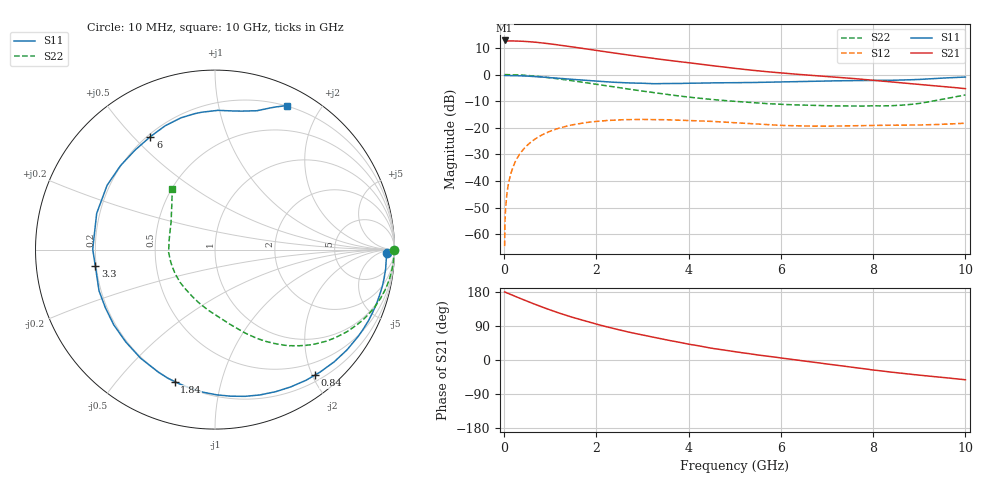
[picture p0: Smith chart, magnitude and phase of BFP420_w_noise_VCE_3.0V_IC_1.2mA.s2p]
! Infineon Technologies  Discrete & RF Semiconductors
! BFP420
! VCE =  3.0 V,  IC =  1.2 mA
! Common Emitter S-Parameters:  Jan 2016
# GHz  S  MA  R  50
!  f  S11  S21  S12  S22
! GHz  MAG  ANG  MAG  ANG  MAG  ANG  MAG  ANG
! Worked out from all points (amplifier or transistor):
!   233 points, 10 MHz to 10 GHz, reference 50 ohm
!   highest |S21| = 12.8 dB at 10 MHz (marker M1)
!   |S21| within 3 dB of that: start of sweep to 1.71 GHz
!   unconditionally stable (mu >= 1): 4.241 GHz to end of sweep
!   at 200 MHz: K = 0.02, MSG = 23.5 dB, |S12| = -34.4 dB
!   at 1.74 GHz: K = 0.29, MSG = 13.9 dB, |S12| = -18.1 dB
!   at 10 GHz: K = 1.32, MAG = 3.1 dB, |S12| = -18.3 dB
!   lowest NFmin = 0.53 dB at 900 MHz
!   S11 on the Smith chart (normalised r, x): 10 MHz: 40, -17; 840 MHz: 0.29, -2.03; 1.84 GHz: 0.20, -0.72; 3.3 GHz: 0.20, -0.06; 6 GHz: 0.21, +0.56; 10 GHz: 0.20, +1.60
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0.01  0.9587 -1.0  4.357 179.3  0.0006 65.0  0.997 0.0
0.02  0.957 -1.1  4.216 179.3  0.0019 83.9  0.9967 -0.6
0.05  0.9555 -3.0  4.249 177.5  0.0048 86.7  0.997 -1.6
0.1  0.9572 -6.2  4.272 175.1  0.0096 86.2  0.9962 -3.4
0.17  0.955 -10.5  4.271 171.6  0.0163 83.7  0.9931 -5.8
0.45  0.938 -27.9  4.186 157.6  0.0425 73.6  0.9675 -15.1
0.64  0.9178 -39.6  4.064 148.3  0.059 66.4  0.9377 -21.1
0.84  0.8932 -51.6  3.897 139.1  0.0749 59.4  0.9005 -27.1
1.2  0.8476 -72.8  3.563 123.5  0.099 47.7  0.8239 -37.0
1.4  0.8214 -83.9  3.369 115.6  0.1097 41.6  0.7801 -41.9
1.68  0.7868 -98.8  3.112 105.4  0.1219 33.9  0.72 -48.0
1.84  0.7687 -107.0  2.965 99.9  0.1272 29.7  0.6872 -51.2
2.2  0.7334 -124.5  2.676 88.3  0.1365 21.2  0.6181 -57.8
2.6  0.7028 -143.4  2.387 76.4  0.1421 12.5  0.5481 -64.6
3.3  0.6732 -172.3  1.973 58.7  0.1421 0.3  0.4498 -75.1
3.4  0.6756 -176.3  1.925 56.1  0.1419 -1.3  0.4374 -76.8
4  0.6894 163.0  1.666 41.8  0.1377 -9.2  0.3766 -86.9
5.1  0.704 136.5  1.277 20.2  0.1234 -18.8  0.3087 -107.3
6  0.7251 119.8  1.071 5.3  0.111 -21.4  0.2762 -125.7
6.8  0.751 107.4  0.943 -7.4  0.1075 -20.6  0.2612 -143.8
8.4  0.7795 82.1  0.724 -32.1  0.1116 -21.4  0.2599 169.9
10  0.8965 63.5  0.542 -52.1  0.1218 -21.4  0.4131 125.3
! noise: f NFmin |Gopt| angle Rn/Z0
0.9  0.53  0.62  33  0.31
1.8  1.1  0.4  77  0.24
2.4  1.23  0.41  100  0.2
3  1.51  0.41  132  0.14
4  1.8  0.44  -175  0.09
5  2.23  0.45  -132  0.38
6  3.18  0.57  -116  0.44
